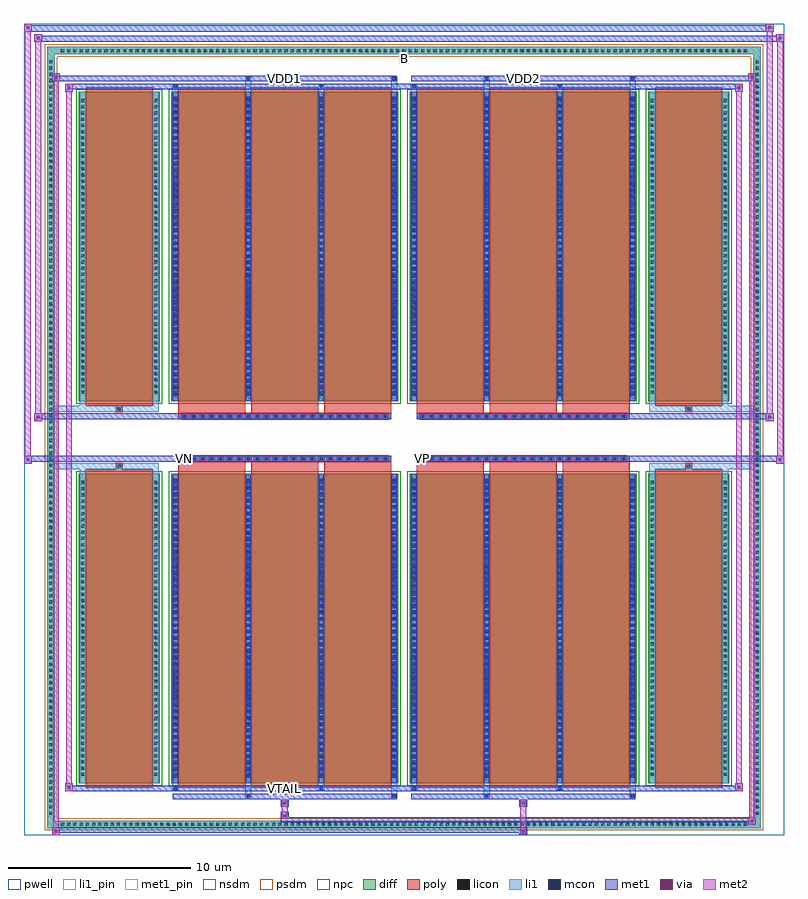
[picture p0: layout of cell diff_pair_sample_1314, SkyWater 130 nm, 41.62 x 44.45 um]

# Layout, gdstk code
import gdstk
lib = gdstk.Library(unit=1e-6, precision=5e-09)
def R(c, l, rs):  # rectangles x0, y0, x1, y1
    for r in rs: c.add(gdstk.rectangle(r[:2], r[2:], *l))
def A(c, l, x, y, w, h, nx, ny, dx, dy):  # array of equal rectangles
    R(c, l, [(x+i*dx, y+j*dy, x+i*dx+w, y+j*dy+h) for i in range(nx) for j in range(ny)])
def P(c, l, *ps):  # polygons
    for p in ps: c.add(gdstk.Polygon(p, *l))
pwell = (64, 44)
diff = (65, 20)
poly = (66, 20)
licon = (66, 44)
li1_pin = (67, 16)
li1 = (67, 20)
mcon = (67, 44)
met1_pin = (68, 16)
met1 = (68, 20)
via = (68, 44)
met2 = (69, 20)
nsdm = (93, 44)
psdm = (94, 20)
npc = (95, 20)

diff_pair_sample_1314 = lib.new_cell('diff_pair_sample_1314')
R(diff_pair_sample_1314, pwell, [(-20.81,-21.79,20.81,22.66), (-18.13,-19.98,-0.01,-0.8), (0.01,-19.98,18.13,-0.8), (-18.13,0.8,-0.01,19.98), (0.01,0.8,18.13,19.98)])
A(diff_pair_sample_1314, diff, -18.905, -21.39, 0.41, 0.41, 111, 2, 0.34, 42.37)
A(diff_pair_sample_1314, diff, -19.54, -20.775, 0.41, 0.41, 1, 122, 0, 0.34)
A(diff_pair_sample_1314, diff, 19.13, -20.775, 0.41, 0.41, 1, 122, 0, 0.34)
R(diff_pair_sample_1314, diff, [(-18.905,-21.39,18.905,-20.98), (-19.54,-20.775,-19.13,20.775), (19.13,-20.775,19.54,20.775), (-17.82,-18.935,-13.38,-1.985), (-12.74,-18.935,-0.32,-1.985), (0.32,-18.935,12.74,-1.985), (13.38,-18.935,17.82,-1.985), (-17.82,1.985,-13.38,18.935), (-12.74,1.985,-0.32,18.935), (0.32,1.985,12.74,18.935), (13.38,1.985,17.82,18.935), (-18.905,20.98,18.905,21.39)])
P(diff_pair_sample_1314, diff, [(19.54,21.39),(-19.54,21.39),(-19.54,-20.98),(-19.13,-20.98),(-19.13,20.98),(19.13,20.98),(19.13,-20.98),(-19.13,-20.98),(-19.54,-20.98),(-19.54,-21.39),(19.54,-21.39)])
A(diff_pair_sample_1314, poly, -12.35, -19.185, 3.66, 17.45, 3, 2, 3.99, 20.92)
A(diff_pair_sample_1314, poly, 0.71, -19.185, 3.66, 17.45, 3, 2, 3.99, 20.92)
A(diff_pair_sample_1314, poly, -12.35, -1.735, 3.66, 0.405, 3, 2, 3.99, 3.065)
A(diff_pair_sample_1314, poly, 0.71, -1.735, 3.66, 0.405, 3, 2, 3.99, 3.065)
A(diff_pair_sample_1314, poly, -12.195, -1.33, 0.33, 0.33, 23, 2, 0.5, 2.33)
A(diff_pair_sample_1314, poly, 0.865, -1.33, 0.33, 0.33, 23, 2, 0.5, 2.33)
R(diff_pair_sample_1314, poly, [(-17.43,-19.185,-13.77,-1.735), (13.77,-19.185,17.43,-1.735), (-15.765,-1.735,-15.435,-1.405), (-15.765,-1.735,-15.435,-1.405), (15.435,-1.735,15.765,-1.405), (15.435,-1.735,15.765,-1.405), (-12.35,-1.33,-0.71,-1), (0.71,-1.33,12.35,-1), (-12.35,1,-0.71,1.33), (0.71,1,12.35,1.33), (-15.765,1.405,-15.435,1.735), (-15.765,1.405,-15.435,1.735), (15.435,1.405,15.765,1.735), (15.435,1.405,15.765,1.735), (-17.43,1.735,-13.77,19.185), (13.77,1.735,17.43,19.185)])
A(diff_pair_sample_1314, licon, -18.785, -21.27, 0.17, 0.17, 111, 2, 0.34, 42.37)
A(diff_pair_sample_1314, licon, -19.42, -20.655, 0.17, 0.17, 1, 122, 0, 0.34)
A(diff_pair_sample_1314, licon, 19.25, -20.655, 0.17, 0.17, 1, 122, 0, 0.34)
A(diff_pair_sample_1314, licon, -17.68, -18.535, 0.17, 0.17, 1, 48, 0, 0.34)
A(diff_pair_sample_1314, licon, -13.69, -18.535, 0.17, 0.17, 1, 48, 0, 0.34)
A(diff_pair_sample_1314, licon, -12.6, -18.535, 0.17, 0.17, 4, 48, 3.99, 0.34)
A(diff_pair_sample_1314, licon, 0.46, -18.535, 0.17, 0.17, 4, 48, 3.99, 0.34)
A(diff_pair_sample_1314, licon, 13.52, -18.535, 0.17, 0.17, 1, 48, 0, 0.34)
A(diff_pair_sample_1314, licon, 17.51, -18.535, 0.17, 0.17, 1, 48, 0, 0.34)
A(diff_pair_sample_1314, licon, -12.115, -1.25, 0.17, 0.17, 23, 2, 0.5, 2.33)
A(diff_pair_sample_1314, licon, 0.945, -1.25, 0.17, 0.17, 23, 2, 0.5, 2.33)
A(diff_pair_sample_1314, licon, -17.68, 2.385, 0.17, 0.17, 1, 48, 0, 0.34)
A(diff_pair_sample_1314, licon, -13.69, 2.385, 0.17, 0.17, 1, 48, 0, 0.34)
A(diff_pair_sample_1314, licon, -12.6, 2.385, 0.17, 0.17, 4, 48, 3.99, 0.34)
A(diff_pair_sample_1314, licon, 0.46, 2.385, 0.17, 0.17, 4, 48, 3.99, 0.34)
A(diff_pair_sample_1314, licon, 13.52, 2.385, 0.17, 0.17, 1, 48, 0, 0.34)
A(diff_pair_sample_1314, licon, 17.51, 2.385, 0.17, 0.17, 1, 48, 0, 0.34)
R(diff_pair_sample_1314, licon, [(-15.685,-1.655,-15.515,-1.485), (15.515,-1.655,15.685,-1.485), (-15.685,1.485,-15.515,1.655), (15.515,1.485,15.685,1.655)])
R(diff_pair_sample_1314, li1_pin, [(-0.25,20.48,0.25,20.98)])
A(diff_pair_sample_1314, li1, -18.865, -21.35, 0.33, 0.33, 111, 2, 0.34, 42.37)
A(diff_pair_sample_1314, li1, -19.5, -20.735, 0.33, 0.33, 1, 122, 0, 0.34)
A(diff_pair_sample_1314, li1, 19.17, -20.735, 0.33, 0.33, 1, 122, 0, 0.34)
A(diff_pair_sample_1314, li1, -12.68, -18.935, 0.33, 16.95, 4, 2, 3.99, 20.92)
A(diff_pair_sample_1314, li1, 0.38, -18.935, 0.33, 16.95, 4, 2, 3.99, 20.92)
A(diff_pair_sample_1314, li1, -12.6, -18.645, 0.17, 0.17, 4, 46, 3.99, 0.36)
A(diff_pair_sample_1314, li1, -12.6, -18.645, 0.17, 16.37, 4, 2, 3.99, 20.92)
A(diff_pair_sample_1314, li1, 0.46, -18.645, 0.17, 0.17, 4, 46, 3.99, 0.36)
A(diff_pair_sample_1314, li1, 0.46, -18.645, 0.17, 16.37, 4, 2, 3.99, 20.92)
A(diff_pair_sample_1314, li1, -17.76, -18.615, 0.33, 0.33, 1, 48, 0, 0.34)
A(diff_pair_sample_1314, li1, -13.77, -18.615, 0.33, 0.33, 1, 48, 0, 0.34)
A(diff_pair_sample_1314, li1, -12.68, -18.615, 0.33, 0.33, 4, 48, 3.99, 0.34)
A(diff_pair_sample_1314, li1, 0.38, -18.615, 0.33, 0.33, 4, 48, 3.99, 0.34)
A(diff_pair_sample_1314, li1, 13.44, -18.615, 0.33, 0.33, 1, 48, 0, 0.34)
A(diff_pair_sample_1314, li1, 17.43, -18.615, 0.33, 0.33, 1, 48, 0, 0.34)
A(diff_pair_sample_1314, li1, -12.195, -1.33, 0.33, 0.33, 23, 2, 0.5, 2.33)
A(diff_pair_sample_1314, li1, 0.865, -1.33, 0.33, 0.33, 23, 2, 0.5, 2.33)
A(diff_pair_sample_1314, li1, -12.6, 2.275, 0.17, 0.17, 4, 46, 3.99, 0.36)
A(diff_pair_sample_1314, li1, 0.46, 2.275, 0.17, 0.17, 4, 46, 3.99, 0.36)
A(diff_pair_sample_1314, li1, -17.76, 2.305, 0.33, 0.33, 1, 48, 0, 0.34)
A(diff_pair_sample_1314, li1, -13.77, 2.305, 0.33, 0.33, 1, 48, 0, 0.34)
A(diff_pair_sample_1314, li1, -12.68, 2.305, 0.33, 0.33, 4, 48, 3.99, 0.34)
A(diff_pair_sample_1314, li1, 0.38, 2.305, 0.33, 0.33, 4, 48, 3.99, 0.34)
A(diff_pair_sample_1314, li1, 13.44, 2.305, 0.33, 0.33, 1, 48, 0, 0.34)
A(diff_pair_sample_1314, li1, 17.43, 2.305, 0.33, 0.33, 1, 48, 0, 0.34)
R(diff_pair_sample_1314, li1, [(-19.54,-21.39,-19.13,-20.98), (-19.54,-21.39,-19.13,-20.98), (-19.13,-21.39,19.13,-20.98), (19.13,-21.39,19.54,-20.98), (19.13,-21.39,19.54,-20.98), (-19.54,-20.98,-19.13,20.98), (19.13,-20.98,19.54,20.98), (-8.69,-19.74,-8.36,-18.935), (-8.61,-19.74,-8.44,-19.57), (-0.71,-19.74,-0.38,-18.935), (-0.63,-19.74,-0.46,-19.57), (4.37,-19.74,4.7,-18.935), (4.45,-19.74,4.62,-19.57), (12.35,-19.74,12.68,-18.935), (12.43,-19.74,12.6,-19.57), (-12.68,-19.31,-12.35,-18.935), (-12.6,-19.31,-12.43,-19.14), (-4.7,-19.31,-4.37,-18.935), (-4.62,-19.31,-4.45,-19.14), (0.38,-19.31,0.71,-18.935), (0.46,-19.31,0.63,-19.14), (8.36,-19.31,8.69,-18.935), (8.44,-19.31,8.61,-19.14), (-17.76,-18.935,-17.43,-1.985), (-13.77,-18.935,-13.44,-1.985), (13.44,-18.935,13.77,-1.985), (17.43,-18.935,17.76,-1.985), (-17.76,-1.985,-17.43,-1.405), (-13.77,-1.985,-13.44,-1.405), (13.44,-1.985,13.77,-1.405), (17.43,-1.985,17.76,-1.405), (-19.54,-1.735,-15.765,-1.405), (-17.76,-1.735,-15.765,-1.405), (-15.765,-1.735,-15.435,-1.405), (-15.435,-1.735,-13.44,-1.405), (13.44,-1.735,15.435,-1.405), (15.435,-1.735,15.765,-1.405), (15.435,-1.735,19.54,-1.405), (15.765,-1.735,17.76,-1.405), (-19.54,1.405,-15.765,1.735), (-17.76,1.405,-15.765,1.735), (-17.76,1.405,-17.43,1.985), (-15.765,1.405,-15.435,1.735), (-15.435,1.405,-13.44,1.735), (-13.77,1.405,-13.44,1.985), (13.44,1.405,15.435,1.735), (13.44,1.405,13.77,1.985), (15.435,1.405,15.765,1.735), (15.435,1.405,19.54,1.735), (15.765,1.405,17.76,1.735), (17.43,1.405,17.76,1.985), (-17.76,1.985,-17.43,18.935), (-13.77,1.985,-13.44,18.935), (13.44,1.985,13.77,18.935), (17.43,1.985,17.76,18.935), (-12.68,18.935,-12.35,19.31), (-8.69,18.935,-8.36,19.74), (-4.7,18.935,-4.37,19.31), (-0.71,18.935,-0.38,19.74), (0.38,18.935,0.71,19.31), (4.37,18.935,4.7,19.74), (8.36,18.935,8.69,19.31), (12.35,18.935,12.68,19.74), (-12.6,19.14,-12.43,19.31), (-4.62,19.14,-4.45,19.31), (0.46,19.14,0.63,19.31), (8.44,19.14,8.61,19.31), (-8.61,19.57,-8.44,19.74), (-0.63,19.57,-0.46,19.74), (4.45,19.57,4.62,19.74), (12.43,19.57,12.6,19.74), (-19.54,20.98,-19.13,21.39), (-19.54,20.98,-19.13,21.39), (-19.13,20.98,19.13,21.39), (19.13,20.98,19.54,21.39), (19.13,20.98,19.54,21.39)])
A(diff_pair_sample_1314, mcon, -12.6, -18.645, 0.17, 0.17, 4, 46, 3.99, 0.36)
A(diff_pair_sample_1314, mcon, 0.46, -18.645, 0.17, 0.17, 4, 46, 3.99, 0.36)
A(diff_pair_sample_1314, mcon, -12.115, -1.25, 0.17, 0.17, 23, 2, 0.5, 2.33)
A(diff_pair_sample_1314, mcon, 0.945, -1.25, 0.17, 0.17, 23, 2, 0.5, 2.33)
A(diff_pair_sample_1314, mcon, -12.6, 2.275, 0.17, 0.17, 4, 46, 3.99, 0.36)
A(diff_pair_sample_1314, mcon, 0.46, 2.275, 0.17, 0.17, 4, 46, 3.99, 0.36)
R(diff_pair_sample_1314, mcon, [(-8.61,-19.74,-8.44,-19.57), (-0.63,-19.74,-0.46,-19.57), (4.45,-19.74,4.62,-19.57), (12.43,-19.74,12.6,-19.57), (-12.6,-19.31,-12.43,-19.14), (-4.62,-19.31,-4.45,-19.14), (0.46,-19.31,0.63,-19.14), (8.44,-19.31,8.61,-19.14), (-12.6,19.14,-12.43,19.31), (-4.62,19.14,-4.45,19.31), (0.46,19.14,0.63,19.31), (8.44,19.14,8.61,19.31), (-8.61,19.57,-8.44,19.74), (-0.63,19.57,-0.46,19.74), (4.45,19.57,4.62,19.74), (12.43,19.57,12.6,19.74)])
R(diff_pair_sample_1314, met1_pin, [(-6.665,-19.35,-6.395,-19.08), (-12.165,-1.29,-11.895,-1.02), (0.895,-1.29,1.165,-1.02), (-6.665,19.53,-6.395,19.8), (6.395,19.53,6.665,19.8)])
A(diff_pair_sample_1314, met1, -12.66, -18.935, 0.29, 16.95, 4, 2, 3.99, 20.92)
A(diff_pair_sample_1314, met1, 0.4, -18.935, 0.29, 16.95, 4, 2, 3.99, 20.92)
A(diff_pair_sample_1314, met1, -12.66, -18.705, 0.29, 0.29, 4, 46, 3.99, 0.36)
A(diff_pair_sample_1314, met1, 0.4, -18.705, 0.29, 0.29, 4, 46, 3.99, 0.36)
A(diff_pair_sample_1314, met1, -12.175, -1.31, 0.29, 0.29, 23, 2, 0.5, 2.33)
A(diff_pair_sample_1314, met1, 0.885, -1.31, 0.29, 0.29, 23, 2, 0.5, 2.33)
A(diff_pair_sample_1314, met1, -12.66, 2.215, 0.29, 0.29, 4, 46, 3.99, 0.36)
A(diff_pair_sample_1314, met1, 0.4, 2.215, 0.29, 0.29, 4, 46, 3.99, 0.36)
R(diff_pair_sample_1314, met1, [(-19.27,-21.79,-18.84,-21.36), (6.315,-21.79,6.745,-21.36), (-19.27,-21.65,6.745,-21.36), (18.84,-21.22,19.27,-20.79), (-6.745,-21.08,19.27,-20.79), (-6.745,-20.94,-6.315,-20.51), (-6.745,-20.23,-6.315,-19.8), (6.315,-20.23,6.745,-19.8), (-12.66,-19.8,-0.4,-19.51), (-8.67,-19.8,-8.38,-19.51), (-0.69,-19.8,-0.4,-19.51), (0.4,-19.8,12.66,-19.51), (4.39,-19.8,4.68,-19.51), (12.37,-19.8,12.66,-19.51), (-18.56,-19.37,-18.13,-18.94), (-18.56,-19.37,-12.66,-19.08), (-12.66,-19.37,-12.37,-19.08), (-12.66,-19.37,-0.4,-19.08), (-4.68,-19.37,-4.39,-19.08), (-0.4,-19.37,0.4,-19.08), (0.4,-19.37,0.69,-19.08), (0.4,-19.37,12.66,-19.08), (8.38,-19.37,8.67,-19.08), (12.66,-19.37,18.56,-19.08), (18.13,-19.37,18.56,-18.94), (-20.81,-1.43,-20.38,-1), (20.38,-1.43,20.81,-1), (-20.81,-1.33,-0.71,-1), (-12.35,-1.33,-0.71,-1), (0.71,-1.33,12.35,-1), (0.71,-1.33,20.81,-1), (-20.24,0.9,-19.81,1.33), (19.81,0.9,20.24,1.33), (-20.24,1,-12.35,1.33), (-12.35,1,-0.71,1.33), (0.71,1,12.35,1.33), (12.35,1,20.24,1.33), (-18.56,18.94,-18.13,19.37), (18.13,18.94,18.56,19.37), (-18.56,19.08,-12.66,19.37), (-12.66,19.08,-12.37,19.37), (-12.66,19.08,-0.4,19.37), (-4.68,19.08,-4.39,19.37), (-0.4,19.08,0.4,19.37), (0.4,19.08,0.69,19.37), (0.4,19.08,12.66,19.37), (8.38,19.08,8.67,19.37), (12.66,19.08,18.56,19.37), (-19.27,19.51,-18.84,19.94), (-19.27,19.51,-12.66,19.8), (-12.66,19.51,-0.4,19.8), (-8.67,19.51,-8.38,19.8), (-0.69,19.51,-0.4,19.8), (0.4,19.51,12.66,19.8), (4.39,19.51,4.68,19.8), (12.37,19.51,12.66,19.8), (12.66,19.51,19.27,19.8), (18.84,19.51,19.27,19.94), (-20.24,21.66,-19.81,22.09), (-20.24,21.66,-18.13,21.99), (-18.13,21.66,18.13,21.99), (18.13,21.66,20.81,21.99), (20.38,21.66,20.81,22.09), (-20.81,22.23,-20.38,22.66), (-20.81,22.23,-18.13,22.56), (-18.13,22.23,18.13,22.56), (18.13,22.23,20.24,22.56), (19.81,22.23,20.24,22.66)])
R(diff_pair_sample_1314, via, [(-19.13,-21.65,-18.98,-21.5), (6.455,-21.65,6.605,-21.5), (18.98,-21.08,19.13,-20.93), (-6.605,-20.8,-6.455,-20.65), (-6.605,-20.09,-6.455,-19.94), (6.455,-20.09,6.605,-19.94), (-18.42,-19.23,-18.27,-19.08), (18.27,-19.23,18.42,-19.08), (-20.67,-1.29,-20.52,-1.14), (20.52,-1.29,20.67,-1.14), (-20.1,1.04,-19.95,1.19), (19.95,1.04,20.1,1.19), (-18.42,19.08,-18.27,19.23), (18.27,19.08,18.42,19.23), (-19.13,19.65,-18.98,19.8), (18.98,19.65,19.13,19.8), (-20.1,21.8,-19.95,21.95), (20.52,21.8,20.67,21.95), (-20.67,22.37,-20.52,22.52), (19.95,22.37,20.1,22.52)])
R(diff_pair_sample_1314, met2, [(-19.27,-21.79,-18.84,-21.36), (-19.2,-21.79,-18.91,19.94), (-18.91,-21.79,-18.84,-21.36), (-19.22,-21.74,-18.89,-21.41), (6.365,-21.74,6.695,-21.41), (6.365,-21.41,6.695,-20.18), (18.84,-21.22,19.27,-20.79), (18.91,-21.22,19.2,19.94), (19.2,-21.22,19.27,-20.79), (18.89,-21.17,19.22,-20.84), (-6.695,-20.89,-6.365,-20.56), (-6.695,-20.56,-6.365,-20.18), (-6.695,-20.18,-6.365,-19.85), (6.365,-20.18,6.695,-19.85), (-18.56,-19.37,-18.13,-18.94), (-18.49,-19.37,-18.2,19.37), (-18.2,-19.37,-18.13,-18.94), (18.13,-19.37,18.56,-18.94), (18.2,-19.37,18.49,19.37), (18.49,-19.37,18.56,-18.94), (-18.51,-19.32,-18.18,-18.99), (18.18,-19.32,18.51,-18.99), (-20.81,-1.43,-20.38,-1), (-20.76,-1.43,-20.43,22.66), (-20.43,-1.43,-20.38,-1), (20.38,-1.43,20.81,-1), (20.43,-1.43,20.76,22.09), (20.76,-1.43,20.81,-1), (-20.76,-1.38,-20.43,-1.05), (20.43,-1.38,20.76,-1.05), (-20.24,0.9,-19.81,1.33), (-20.19,0.9,-19.86,22.09), (-19.86,0.9,-19.81,1.33), (19.81,0.9,20.24,1.33), (19.86,0.9,20.19,22.66), (20.19,0.9,20.24,1.33), (-20.19,0.95,-19.86,1.28), (19.86,0.95,20.19,1.28), (-18.56,18.94,-18.13,19.37), (-18.2,18.94,-18.13,19.37), (18.13,18.94,18.56,19.37), (18.49,18.94,18.56,19.37), (-18.51,18.99,-18.18,19.32), (18.18,18.99,18.51,19.32), (-19.27,19.51,-18.84,19.94), (-18.91,19.51,-18.84,19.94), (18.84,19.51,19.27,19.94), (19.2,19.51,19.27,19.94), (-19.22,19.56,-18.89,19.89), (18.89,19.56,19.22,19.89), (-20.24,21.66,-19.81,22.09), (-19.86,21.66,-19.81,22.09), (20.38,21.66,20.81,22.09), (20.76,21.66,20.81,22.09), (-20.19,21.71,-19.86,22.04), (20.43,21.71,20.76,22.04), (-20.81,22.23,-20.38,22.66), (-20.43,22.23,-20.38,22.66), (19.81,22.23,20.24,22.66), (20.19,22.23,20.24,22.66), (-20.76,22.28,-20.43,22.61), (19.86,22.28,20.19,22.61)])
R(diff_pair_sample_1314, nsdm, [(-17.95,-19.065,-13.25,-1.855), (-12.87,-19.065,-0.19,-1.855), (0.19,-19.065,12.87,-1.855), (13.25,-19.065,17.95,-1.855), (-17.95,1.855,-13.25,19.065), (-12.87,1.855,-0.19,19.065), (0.19,1.855,12.87,19.065), (13.25,1.855,17.95,19.065)])
P(diff_pair_sample_1314, psdm, [(19.67,21.52),(-19.67,21.52),(-19.67,-20.85),(-19,-20.85),(-19,20.85),(19,20.85),(19,-20.85),(-19,-20.85),(-19.67,-20.85),(-19.67,-21.52),(19.67,-21.52)])
A(diff_pair_sample_1314, npc, -12.215, -1.35, 0.37, 0.37, 23, 2, 0.5, 2.33)
A(diff_pair_sample_1314, npc, 0.845, -1.35, 0.37, 0.37, 23, 2, 0.5, 2.33)
R(diff_pair_sample_1314, npc, [(-15.785,-1.755,-15.415,-1.385), (15.415,-1.755,15.785,-1.385), (-12.215,-1.35,-11.345,-0.98), (-12.215,-1.35,-11.345,-0.98), (-11.715,-1.35,-10.845,-0.98), (-11.715,-1.35,-10.845,-0.98), (-11.215,-1.35,-10.345,-0.98), (-11.215,-1.35,-10.345,-0.98), (-10.715,-1.35,-9.845,-0.98), (-10.715,-1.35,-9.845,-0.98), (-10.215,-1.35,-9.345,-0.98), (-10.215,-1.35,-9.345,-0.98), (-9.715,-1.35,-8.845,-0.98), (-9.715,-1.35,-8.845,-0.98), (-9.215,-1.35,-8.345,-0.98), (-9.215,-1.35,-8.345,-0.98), (-8.715,-1.35,-7.845,-0.98), (-8.715,-1.35,-7.845,-0.98), (-8.215,-1.35,-7.345,-0.98), (-8.215,-1.35,-7.345,-0.98), (-7.715,-1.35,-6.845,-0.98), (-7.715,-1.35,-6.845,-0.98), (-7.215,-1.35,-6.345,-0.98), (-7.215,-1.35,-6.345,-0.98), (-6.715,-1.35,-5.845,-0.98), (-6.715,-1.35,-5.845,-0.98), (-6.215,-1.35,-5.345,-0.98), (-6.215,-1.35,-5.345,-0.98), (-5.715,-1.35,-4.845,-0.98), (-5.715,-1.35,-4.845,-0.98), (-5.215,-1.35,-4.345,-0.98), (-5.215,-1.35,-4.345,-0.98), (-4.715,-1.35,-3.845,-0.98), (-4.715,-1.35,-3.845,-0.98), (-4.215,-1.35,-3.345,-0.98), (-4.215,-1.35,-3.345,-0.98), (-3.715,-1.35,-2.845,-0.98), (-3.715,-1.35,-2.845,-0.98), (-3.215,-1.35,-2.345,-0.98), (-3.215,-1.35,-2.345,-0.98), (-2.715,-1.35,-1.845,-0.98), (-2.715,-1.35,-1.845,-0.98), (-2.215,-1.35,-1.345,-0.98), (-2.215,-1.35,-1.345,-0.98), (-1.715,-1.35,-0.845,-0.98), (-1.715,-1.35,-0.845,-0.98), (0.845,-1.35,1.715,-0.98), (0.845,-1.35,1.715,-0.98), (1.345,-1.35,2.215,-0.98), (1.345,-1.35,2.215,-0.98), (1.845,-1.35,2.715,-0.98), (1.845,-1.35,2.715,-0.98), (2.345,-1.35,3.215,-0.98), (2.345,-1.35,3.215,-0.98), (2.845,-1.35,3.715,-0.98), (2.845,-1.35,3.715,-0.98), (3.345,-1.35,4.215,-0.98), (3.345,-1.35,4.215,-0.98), (3.845,-1.35,4.715,-0.98), (3.845,-1.35,4.715,-0.98), (4.345,-1.35,5.215,-0.98), (4.345,-1.35,5.215,-0.98), (4.845,-1.35,5.715,-0.98), (4.845,-1.35,5.715,-0.98), (5.345,-1.35,6.215,-0.98), (5.345,-1.35,6.215,-0.98), (5.845,-1.35,6.715,-0.98), (5.845,-1.35,6.715,-0.98), (6.345,-1.35,7.215,-0.98), (6.345,-1.35,7.215,-0.98), (6.845,-1.35,7.715,-0.98), (6.845,-1.35,7.715,-0.98), (7.345,-1.35,8.215,-0.98), (7.345,-1.35,8.215,-0.98), (7.845,-1.35,8.715,-0.98), (7.845,-1.35,8.715,-0.98), (8.345,-1.35,9.215,-0.98), (8.345,-1.35,9.215,-0.98), (8.845,-1.35,9.715,-0.98), (8.845,-1.35,9.715,-0.98), (9.345,-1.35,10.215,-0.98), (9.345,-1.35,10.215,-0.98), (9.845,-1.35,10.715,-0.98), (9.845,-1.35,10.715,-0.98), (10.345,-1.35,11.215,-0.98), (10.345,-1.35,11.215,-0.98), (10.845,-1.35,11.715,-0.98), (10.845,-1.35,11.715,-0.98), (11.345,-1.35,12.215,-0.98), (11.345,-1.35,12.215,-0.98), (-12.215,0.98,-11.345,1.35), (-12.215,0.98,-11.345,1.35), (-11.715,0.98,-10.845,1.35), (-11.715,0.98,-10.845,1.35), (-11.215,0.98,-10.345,1.35), (-11.215,0.98,-10.345,1.35), (-10.715,0.98,-9.845,1.35), (-10.715,0.98,-9.845,1.35), (-10.215,0.98,-9.345,1.35), (-10.215,0.98,-9.345,1.35), (-9.715,0.98,-8.845,1.35), (-9.715,0.98,-8.845,1.35), (-9.215,0.98,-8.345,1.35), (-9.215,0.98,-8.345,1.35), (-8.715,0.98,-7.845,1.35), (-8.715,0.98,-7.845,1.35), (-8.215,0.98,-7.345,1.35), (-8.215,0.98,-7.345,1.35), (-7.715,0.98,-6.845,1.35), (-7.715,0.98,-6.845,1.35), (-7.215,0.98,-6.345,1.35), (-7.215,0.98,-6.345,1.35), (-6.715,0.98,-5.845,1.35), (-6.715,0.98,-5.845,1.35), (-6.215,0.98,-5.345,1.35), (-6.215,0.98,-5.345,1.35), (-5.715,0.98,-4.845,1.35), (-5.715,0.98,-4.845,1.35), (-5.215,0.98,-4.345,1.35), (-5.215,0.98,-4.345,1.35), (-4.715,0.98,-3.845,1.35), (-4.715,0.98,-3.845,1.35), (-4.215,0.98,-3.345,1.35), (-4.215,0.98,-3.345,1.35), (-3.715,0.98,-2.845,1.35), (-3.715,0.98,-2.845,1.35), (-3.215,0.98,-2.345,1.35), (-3.215,0.98,-2.345,1.35), (-2.715,0.98,-1.845,1.35), (-2.715,0.98,-1.845,1.35), (-2.215,0.98,-1.345,1.35), (-2.215,0.98,-1.345,1.35), (-1.715,0.98,-0.845,1.35), (-1.715,0.98,-0.845,1.35), (0.845,0.98,1.715,1.35), (0.845,0.98,1.715,1.35), (1.345,0.98,2.215,1.35), (1.345,0.98,2.215,1.35), (1.845,0.98,2.715,1.35), (1.845,0.98,2.715,1.35), (2.345,0.98,3.215,1.35), (2.345,0.98,3.215,1.35), (2.845,0.98,3.715,1.35), (2.845,0.98,3.715,1.35), (3.345,0.98,4.215,1.35), (3.345,0.98,4.215,1.35), (3.845,0.98,4.715,1.35), (3.845,0.98,4.715,1.35), (4.345,0.98,5.215,1.35), (4.345,0.98,5.215,1.35), (4.845,0.98,5.715,1.35), (4.845,0.98,5.715,1.35), (5.345,0.98,6.215,1.35), (5.345,0.98,6.215,1.35), (5.845,0.98,6.715,1.35), (5.845,0.98,6.715,1.35), (6.345,0.98,7.215,1.35), (6.345,0.98,7.215,1.35), (6.845,0.98,7.715,1.35), (6.845,0.98,7.715,1.35), (7.345,0.98,8.215,1.35), (7.345,0.98,8.215,1.35), (7.845,0.98,8.715,1.35), (7.845,0.98,8.715,1.35), (8.345,0.98,9.215,1.35), (8.345,0.98,9.215,1.35), (8.845,0.98,9.715,1.35), (8.845,0.98,9.715,1.35), (9.345,0.98,10.215,1.35), (9.345,0.98,10.215,1.35), (9.845,0.98,10.715,1.35), (9.845,0.98,10.715,1.35), (10.345,0.98,11.215,1.35), (10.345,0.98,11.215,1.35), (10.845,0.98,11.715,1.35), (10.845,0.98,11.715,1.35), (11.345,0.98,12.215,1.35), (11.345,0.98,12.215,1.35), (-15.785,1.385,-15.415,1.755), (15.415,1.385,15.785,1.755)])
diff_pair_sample_1314.add(gdstk.Label('VTAIL', (-6.53,-19.215), layer=68, texttype=5))
diff_pair_sample_1314.add(gdstk.Label('VN', (-12.03,-1.155), layer=68, texttype=5))
diff_pair_sample_1314.add(gdstk.Label('VP', (1.03,-1.155), layer=68, texttype=5))
diff_pair_sample_1314.add(gdstk.Label('B', (0,20.73), layer=67, texttype=5))
diff_pair_sample_1314.add(gdstk.Label('VDD2', (6.53,19.665), layer=68, texttype=5))
diff_pair_sample_1314.add(gdstk.Label('VDD1', (-6.53,19.665), layer=68, texttype=5))

lib.write_gds('diff_pair_sample_1314.gds')
